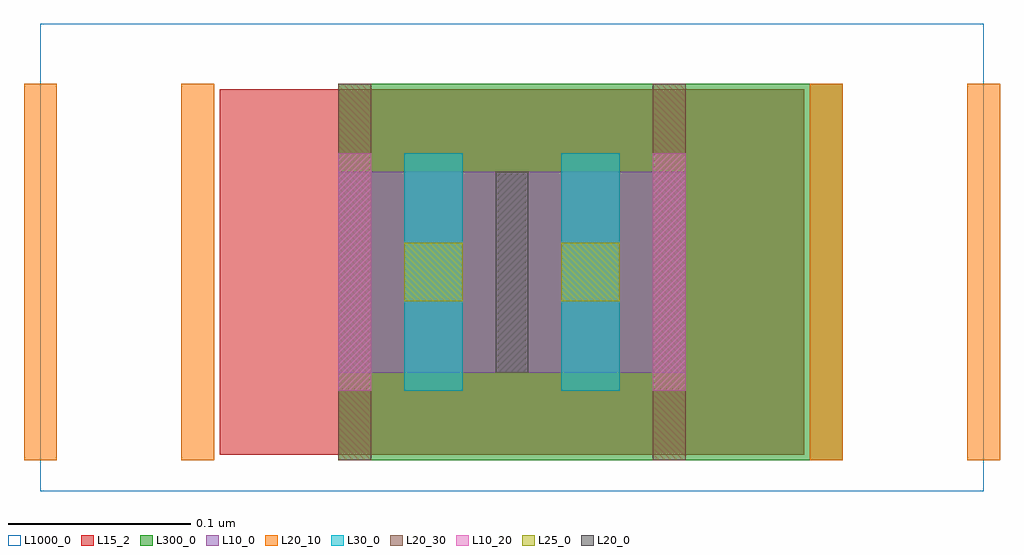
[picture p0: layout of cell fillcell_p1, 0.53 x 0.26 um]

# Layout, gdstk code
import gdstk
lib = gdstk.Library(unit=1e-6, precision=5e-10)
def R(c, l, rs):  # rectangles x0, y0, x1, y1
    for r in rs: c.add(gdstk.rectangle(r[:2], r[2:], *l))
L10_0 = (10, 0)
L10_20 = (10, 20)
L15_2 = (15, 2)
L20_0 = (20, 0)
L20_10 = (20, 10)
L20_30 = (20, 30)
L25_0 = (25, 0)
L30_0 = (30, 0)
L300_0 = (300, 0)
L1000_0 = (1000, 0)

fillcell_p1 = lib.new_cell('fillcell_p1')
R(fillcell_p1, L10_0, [(0.163,0.065,0.249,0.175), (0.249,0.065,0.267,0.175), (0.267,0.065,0.353,0.175)])
R(fillcell_p1, L10_20, [(0.163,0.055,0.181,0.185), (0.335,0.055,0.353,0.185)])
R(fillcell_p1, L15_2, [(0.098,0.02,0.418,0.22)])
R(fillcell_p1, L20_0, [(0.249,0.065,0.267,0.175)])
R(fillcell_p1, L20_10, [(-0.009,0.017,0.009,0.223), (0.077,0.017,0.095,0.223), (0.421,0.017,0.439,0.223), (0.507,0.017,0.525,0.223)])
R(fillcell_p1, L20_30, [(0.163,0.017,0.181,0.223), (0.335,0.017,0.353,0.223)])
R(fillcell_p1, L25_0, [(0.199,0.104,0.231,0.136), (0.285,0.104,0.317,0.136)])
R(fillcell_p1, L30_0, [(0.199,0.055,0.231,0.185), (0.285,0.055,0.317,0.185)])
R(fillcell_p1, L300_0, [(0.163,0.017,0.439,0.223)])
R(fillcell_p1, L1000_0, [(0,0,0.516,0.256)])

lib.write_gds('fillcell_p1.gds')
